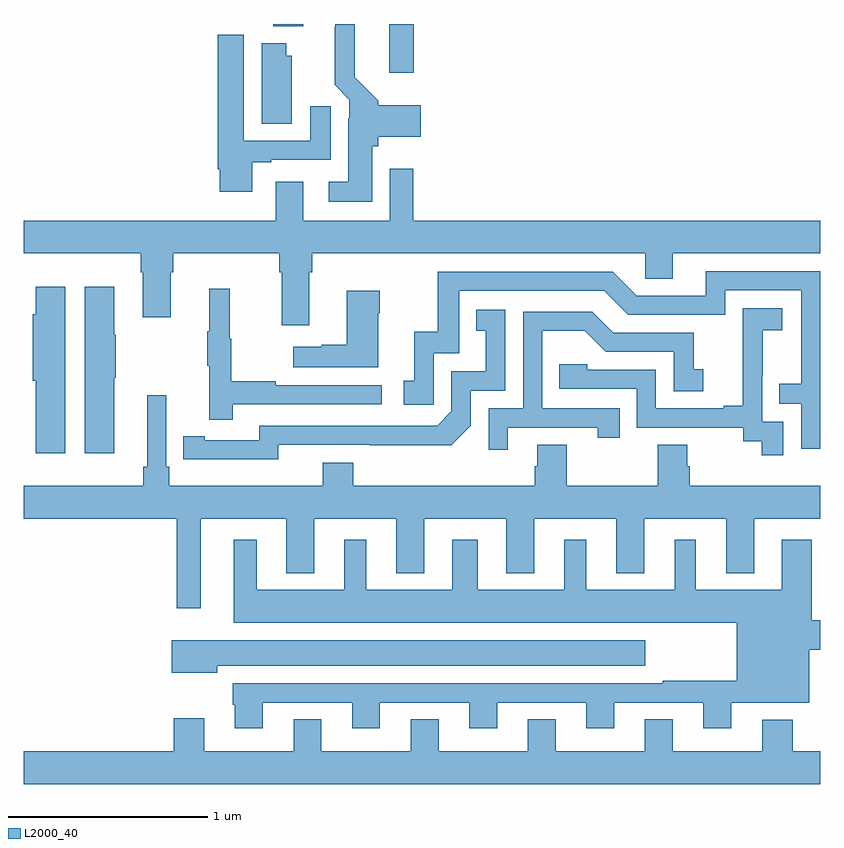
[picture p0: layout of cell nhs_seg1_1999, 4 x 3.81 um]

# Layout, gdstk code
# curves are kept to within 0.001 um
import gdstk
lib = gdstk.Library(unit=1e-6, precision=1e-09)
def R(c, l, rs):  # rectangles x0, y0, x1, y1
    for r in rs: c.add(gdstk.rectangle(r[:2], r[2:], *l))
def P(c, l, *ps):  # polygons
    for p in ps: c.add(gdstk.Polygon(p, *l))
L2000_40 = (2000, 40)

nhs_seg1_1999 = lib.new_cell('nhs_seg1_1999')
R(nhs_seg1_1999, L2000_40, [(220.835,569.955,220.958,570.199), (220.253,570.188,220.405,570.199)])
P(nhs_seg1_1999, L2000_40, [(220.75,569.586),(220.781,569.586),(220.781,569.633),(220.993,569.633),(220.993,569.791),(220.781,569.791),(220.781,569.814),(220.663,569.932),(220.663,570.199),(220.565,570.199),(220.565,570.185),(220.561,570.185),(220.561,569.894),(220.635,569.82),(220.635,569.726),(220.631,569.726),(220.631,569.407),(220.533,569.407),(220.533,569.306),(220.75,569.306)],
  [(220.147,569.505),(220.243,569.505),(220.243,569.517),(220.543,569.517),(220.543,569.785),(220.439,569.785),(220.439,569.613),(220.105,569.613),(220.105,570.145),(219.974,570.145),(219.974,569.47),(219.986,569.47),(219.986,569.358),(220.147,569.358)],
  [(220.345,570.039),(220.318,570.039),(220.318,570.103),(220.196,570.103),(220.196,569.698),(220.345,569.698)],
  [(219,569.048),(219.587,569.048),(219.587,568.952),(219.599,568.952),(219.599,568.728),(219.739,568.728),(219.739,568.952),(219.752,568.952),(219.752,569.048),(220.283,569.048),(220.283,568.952),(220.295,568.952),(220.295,568.686),(220.435,568.686),(220.435,568.952),(220.448,568.952),(220.448,569.048),(222.12,569.048),(222.12,568.921),(222.259,568.921),(222.259,569.048),(223,569.048),(223,569.212),(220.955,569.212),(220.955,569.473),(220.839,569.473),(220.839,569.212),(220.405,569.212),(220.405,569.407),(220.265,569.407),(220.265,569.212),(219,569.212)],
  [(223,568.164),(222.999,568.959),(222.425,568.959),(222.425,568.836),(222.078,568.836),(221.958,568.956),(221.079,568.956),(221.079,568.654),(220.961,568.654),(220.961,568.407),(220.908,568.407),(220.908,568.287),(221.058,568.287),(221.058,568.545),(221.187,568.545),(221.187,568.86),(221.916,568.86),(222.036,568.74),(222.522,568.74),(222.522,568.863),(222.903,568.863),(222.903,568.394),(222.793,568.394),(222.793,568.293),(222.903,568.293),(222.903,568.068),(223,568.068)],
  [(219.208,568.879),(219.062,568.879),(219.062,568.743),(219.047,568.743),(219.047,568.407),(219.062,568.407),(219.062,568.044),(219.208,568.044)],
  [(219.454,568.423),(219.462,568.423),(219.462,568.64),(219.454,568.64),(219.454,568.879),(219.308,568.879),(219.308,568.044),(219.454,568.044)],
  [(220.049,568.29),(220.798,568.29),(220.798,568.386),(220.265,568.386),(220.265,568.406),(220.042,568.406),(220.042,568.62),(220.034,568.62),(220.034,568.87),(219.932,568.87),(219.932,568.657),(219.921,568.657),(219.921,568.483),(219.932,568.483),(219.932,568.212),(220.049,568.212)],
  [(220.78,568.748),(220.788,568.748),(220.788,568.861),(220.622,568.861),(220.622,568.589),(220.496,568.589),(220.496,568.579),(220.353,568.579),(220.353,568.475),(220.78,568.475)],
  [(222.813,568.203),(222.708,568.203),(222.708,568.433),(222.71,568.433),(222.71,568.661),(222.808,568.661),(222.808,568.771),(222.61,568.771),(222.61,568.565),(222.611,568.565),(222.611,568.282),(222.515,568.282),(222.515,568.269),(222.174,568.269),(222.174,568.464),(221.829,568.464),(221.829,568.491),(221.689,568.491),(221.689,568.368),(222.078,568.368),(222.078,568.173),(222.612,568.173),(222.612,568.105),(222.705,568.105),(222.705,568.035),(222.813,568.035)],
  [(220.278,568.086),(221.146,568.085),(221.244,568.182),(221.244,568.359),(221.418,568.359),(221.418,568.765),(221.272,568.765),(221.272,568.659),(221.321,568.659),(221.321,568.455),(221.148,568.455),(221.148,568.254),(221.076,568.182),(220.182,568.182),(220.182,568.11),(219.91,568.11),(219.91,568.13),(219.802,568.13),(219.802,568.014),(220.278,568.013)],
  [(221.431,568.173),(221.882,568.173),(221.882,568.122),(221.993,568.122),(221.993,568.269),(221.604,568.269),(221.604,568.658),(221.818,568.658),(221.922,568.554),(222.264,568.554),(222.264,568.356),(222.412,568.356),(222.412,568.465),(222.363,568.465),(222.363,568.65),(221.959,568.65),(221.854,568.755),(221.508,568.755),(221.508,568.269),(221.334,568.269),(221.334,568.062),(221.431,568.062)],
  [(222.344,567.978),(222.331,567.978),(222.331,568.088),(222.184,568.088),(222.184,567.88),(221.727,567.88),(221.727,568.088),(221.579,568.088),(221.579,567.978),(221.567,567.978),(221.567,567.88),(220.655,567.88),(220.655,567.997),(220.502,567.997),(220.502,567.88),(219.731,567.88),(219.731,567.976),(219.717,567.976),(219.717,568.336),(219.62,568.336),(219.62,567.976),(219.601,567.976),(219.601,567.88),(219,567.88),(219,567.716),(219.768,567.716),(219.768,567.267),(219.889,567.267),(219.889,567.716),(220.319,567.716),(220.319,567.443),(220.459,567.443),(220.459,567.716),(220.871,567.716),(220.871,567.443),(221.011,567.443),(221.011,567.716),(221.423,567.716),(221.423,567.443),(221.563,567.443),(221.563,567.716),(221.975,567.716),(221.975,567.443),(222.115,567.443),(222.115,567.716),(222.527,567.716),(222.527,567.443),(222.667,567.443),(222.667,567.716),(223,567.716),(223,567.88),(222.344,567.88)],
  [(220.201,566.793),(220.649,566.793),(220.649,566.664),(220.789,566.664),(220.789,566.793),(221.237,566.793),(221.237,566.664),(221.377,566.664),(221.377,566.793),(221.825,566.793),(221.825,566.664),(221.965,566.664),(221.965,566.793),(222.413,566.793),(222.413,566.664),(222.553,566.664),(222.553,566.792),(222.943,566.792),(222.943,567.059),(223,567.059),(223,567.206),(222.956,567.206),(222.956,567.61),(222.806,567.61),(222.806,567.358),(222.373,567.358),(222.373,567.61),(222.269,567.61),(222.269,567.358),(221.824,567.358),(221.824,567.61),(221.714,567.61),(221.714,567.358),(221.281,567.358),(221.281,567.61),(221.153,567.61),(221.153,567.358),(220.72,567.358),(220.72,567.61),(220.61,567.61),(220.61,567.358),(220.171,567.358),(220.171,567.61),(220.055,567.61),(220.055,567.194),(222.581,567.194),(222.581,566.902),(222.208,566.902),(222.208,566.889),(220.049,566.889),(220.049,566.781),(220.061,566.781),(220.061,566.664),(220.201,566.664)],
  [(219.973,566.978),(222.121,566.978),(222.121,567.106),(219.744,567.106),(219.744,566.942),(219.973,566.942)],
  [(223,566.548),(222.86,566.548),(222.86,566.707),(222.707,566.707),(222.707,566.548),(222.259,566.548),(222.259,566.708),(222.119,566.708),(222.119,566.548),(221.671,566.548),(221.671,566.708),(221.531,566.708),(221.531,566.548),(221.083,566.548),(221.083,566.708),(220.943,566.708),(220.943,566.548),(220.495,566.548),(220.495,566.708),(220.355,566.708),(220.355,566.548),(219.907,566.548),(219.907,566.713),(219.755,566.713),(219.755,566.548),(219,566.548),(219,566.384),(223,566.384)])

lib.write_gds('nhs_seg1_1999.gds')
